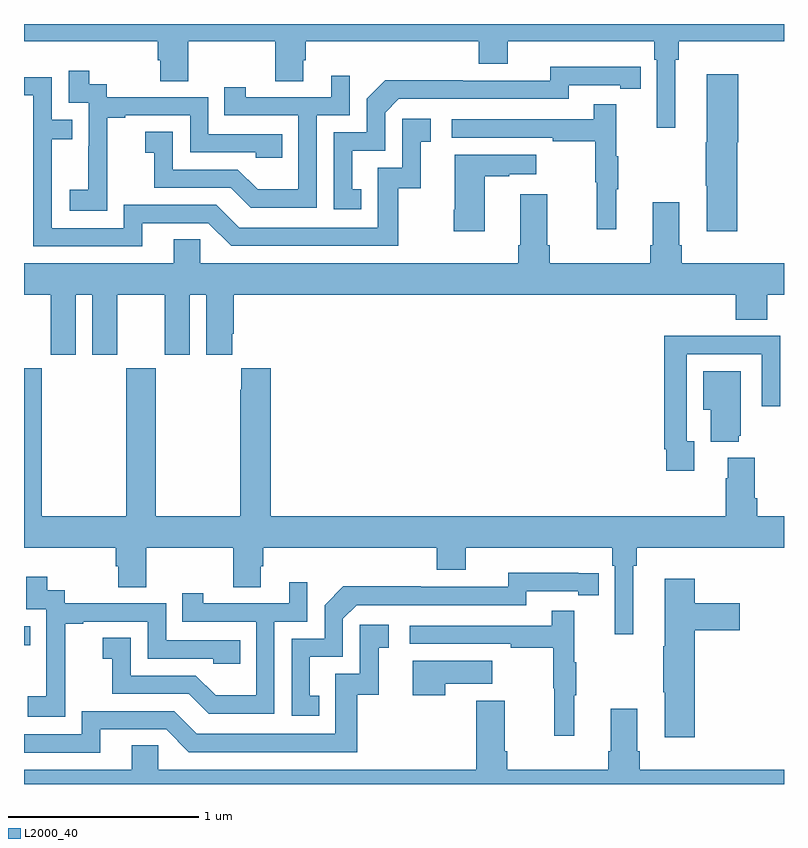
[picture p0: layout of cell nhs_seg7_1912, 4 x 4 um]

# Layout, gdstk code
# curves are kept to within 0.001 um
import gdstk
lib = gdstk.Library(unit=1e-6, precision=1e-09)
def R(c, l, rs):  # rectangles x0, y0, x1, y1
    for r in rs: c.add(gdstk.rectangle(r[:2], r[2:], *l))
def P(c, l, *ps):  # polygons
    for p in ps: c.add(gdstk.Polygon(p, *l))
L2000_40 = (2000, 40)

nhs_seg7_1912 = lib.new_cell('nhs_seg7_1912')
R(nhs_seg7_1912, L2000_40, [(239,1038.73,239.033,1038.831)])
P(nhs_seg7_1912, L2000_40, [(242.428,1041.812),(242.447,1041.812),(242.447,1041.908),(243,1041.908),(243,1042),(239,1042),(239,1041.908),(239.705,1041.908),(239.705,1041.81),(239.717,1041.81),(239.717,1041.7),(239.865,1041.7),(239.865,1041.908),(240.322,1041.908),(240.322,1041.7),(240.469,1041.7),(240.469,1041.81),(240.482,1041.81),(240.482,1041.908),(241.394,1041.908),(241.394,1041.791),(241.546,1041.791),(241.546,1041.908),(242.318,1041.908),(242.318,1041.812),(242.331,1041.812),(242.331,1041.453),(242.428,1041.453)],
  [(240.776,1041.129),(240.727,1041.129),(240.727,1041.333),(240.9,1041.333),(240.9,1041.534),(240.972,1041.606),(241.866,1041.606),(241.866,1041.678),(242.138,1041.678),(242.138,1041.658),(242.246,1041.658),(242.246,1041.774),(241.77,1041.775),(241.77,1041.702),(241.31,1041.702),(241.31,1041.704),(240.902,1041.704),(240.804,1041.606),(240.804,1041.429),(240.63,1041.429),(240.63,1041.024),(240.776,1041.024)],
  [(239.439,1041.223),(239.438,1041.223),(239.438,1041.507),(239.533,1041.507),(239.533,1041.519),(239.874,1041.519),(239.874,1041.324),(240.219,1041.324),(240.219,1041.297),(240.359,1041.297),(240.359,1041.42),(239.97,1041.42),(239.97,1041.615),(239.436,1041.615),(239.436,1041.684),(239.344,1041.684),(239.344,1041.754),(239.235,1041.754),(239.235,1041.585),(239.34,1041.585),(239.34,1041.356),(239.339,1041.356),(239.339,1041.127),(239.241,1041.127),(239.241,1041.017),(239.439,1041.017)],
  [(242.753,1041.378),(242.758,1041.378),(242.758,1041.736),(242.594,1041.736),(242.594,1041.378),(242.587,1041.378),(242.587,1041.148),(242.594,1041.148),(242.594,1040.91),(242.753,1040.91)],
  [(240.54,1041.519),(240.714,1041.519),(240.714,1041.727),(240.617,1041.727),(240.617,1041.615),(240.166,1041.615),(240.166,1041.667),(240.055,1041.667),(240.055,1041.519),(240.444,1041.519),(240.444,1041.13),(240.23,1041.13),(240.126,1041.234),(239.784,1041.234),(239.784,1041.433),(239.637,1041.433),(239.637,1041.323),(239.686,1041.323),(239.686,1041.138),(240.089,1041.138),(240.194,1041.033),(240.54,1041.033)],
  [(239.623,1040.952),(239.97,1040.952),(240.09,1040.832),(240.97,1040.832),(240.97,1041.135),(241.088,1041.135),(241.088,1041.381),(241.141,1041.381),(241.141,1041.502),(240.99,1041.502),(240.99,1041.243),(240.861,1041.243),(240.861,1040.928),(240.132,1040.928),(240.012,1041.048),(239.526,1041.048),(239.526,1040.925),(239.145,1040.925),(239.145,1041.394),(239.255,1041.394),(239.255,1041.495),(239.145,1041.495),(239.145,1041.72),(239,1041.72),(239,1041.624),(239.049,1041.624),(239.049,1040.829),(239.623,1040.829)],
  [(242.117,1041.131),(242.128,1041.131),(242.128,1041.305),(242.117,1041.305),(242.117,1041.577),(241.999,1041.577),(241.999,1041.498),(241.251,1041.498),(241.251,1041.402),(241.783,1041.402),(241.783,1041.382),(242.007,1041.382),(242.007,1041.168),(242.014,1041.168),(242.014,1040.919),(242.117,1040.919)],
  [(241.426,1041.199),(241.553,1041.199),(241.553,1041.209),(241.696,1041.209),(241.696,1041.313),(241.268,1041.313),(241.268,1041.022),(241.261,1041.022),(241.261,1040.91),(241.426,1040.91)],
  [(242.462,1040.836),(242.449,1040.836),(242.449,1041.061),(242.309,1041.061),(242.309,1040.836),(242.297,1040.836),(242.297,1040.74),(241.766,1040.74),(241.766,1040.836),(241.753,1040.836),(241.753,1041.103),(241.613,1041.103),(241.613,1040.836),(241.601,1040.836),(241.601,1040.74),(239.928,1040.74),(239.928,1040.867),(239.789,1040.867),(239.789,1040.74),(239,1040.74),(239,1040.576),(239.141,1040.576),(239.141,1040.259),(239.272,1040.259),(239.272,1040.576),(239.36,1040.576),(239.36,1040.259),(239.491,1040.259),(239.491,1040.576),(239.741,1040.576),(239.741,1040.259),(239.872,1040.259),(239.872,1040.576),(239.96,1040.576),(239.96,1040.259),(240.097,1040.259),(240.097,1040.371),(240.104,1040.371),(240.104,1040.576),(242.747,1040.576),(242.747,1040.443),(242.912,1040.443),(242.912,1040.576),(243,1040.576),(243,1040.74),(242.462,1040.74)],
  [(242.527,1039.805),(242.487,1039.805),(242.487,1040.262),(242.883,1040.262),(242.883,1039.989),(242.979,1039.989),(242.979,1040.358),(242.663,1040.358),(242.663,1040.36),(242.371,1040.36),(242.371,1039.762),(242.379,1039.762),(242.379,1039.65),(242.527,1039.65)],
  [(239.094,1040.188),(239,1040.188),(239,1039.244),(239.483,1039.244),(239.483,1039.146),(239.495,1039.146),(239.495,1039.036),(239.643,1039.036),(239.643,1039.244),(240.1,1039.244),(240.1,1039.036),(240.247,1039.036),(240.247,1039.146),(240.26,1039.146),(240.26,1039.244),(241.172,1039.244),(241.172,1039.127),(241.324,1039.127),(241.324,1039.244),(242.096,1039.244),(242.096,1039.148),(242.109,1039.148),(242.109,1038.789),(242.206,1038.789),(242.206,1039.148),(242.225,1039.148),(242.225,1039.244),(243,1039.244),(243,1039.408),(242.858,1039.408),(242.858,1039.504),(242.845,1039.504),(242.845,1039.717),(242.705,1039.717),(242.705,1039.61),(242.693,1039.61),(242.693,1039.408),(240.299,1039.408),(240.299,1040.188),(240.143,1040.188),(240.143,1040.075),(240.139,1040.075),(240.139,1039.408),(239.694,1039.408),(239.694,1040.188),(239.539,1040.188),(239.539,1039.408),(239.094,1039.408)],
  [(242.762,1039.833),(242.773,1039.833),(242.773,1040.173),(242.576,1040.173),(242.576,1039.97),(242.615,1039.97),(242.615,1039.802),(242.762,1039.802)],
  [(240.554,1038.465),(240.505,1038.465),(240.505,1038.669),(240.678,1038.669),(240.678,1038.87),(240.75,1038.942),(241.644,1038.942),(241.644,1039.014),(241.916,1039.014),(241.916,1038.994),(242.024,1038.994),(242.024,1039.11),(241.548,1039.111),(241.548,1039.038),(241.088,1039.038),(241.088,1039.04),(240.68,1039.04),(240.582,1038.942),(240.582,1038.765),(240.408,1038.765),(240.408,1038.36),(240.554,1038.36)],
  [(239.217,1038.559),(239.216,1038.559),(239.216,1038.843),(239.311,1038.843),(239.311,1038.855),(239.652,1038.855),(239.652,1038.66),(239.997,1038.66),(239.997,1038.633),(240.137,1038.633),(240.137,1038.756),(239.748,1038.756),(239.748,1038.951),(239.214,1038.951),(239.214,1039.02),(239.122,1039.02),(239.122,1039.09),(239.013,1039.09),(239.013,1038.921),(239.118,1038.921),(239.118,1038.692),(239.117,1038.692),(239.117,1038.463),(239.019,1038.463),(239.019,1038.353),(239.217,1038.353)],
  [(242.531,1038.809),(242.767,1038.809),(242.767,1038.951),(242.531,1038.951),(242.531,1039.081),(242.372,1039.081),(242.372,1038.725),(242.365,1038.725),(242.365,1038.484),(242.372,1038.484),(242.372,1038.246),(242.531,1038.246)],
  [(240.318,1038.855),(240.492,1038.855),(240.492,1039.063),(240.395,1039.063),(240.395,1038.951),(239.944,1038.951),(239.944,1039.003),(239.833,1039.003),(239.833,1038.855),(240.222,1038.855),(240.222,1038.466),(240.008,1038.466),(239.904,1038.57),(239.562,1038.57),(239.562,1038.769),(239.415,1038.769),(239.415,1038.659),(239.464,1038.659),(239.464,1038.474),(239.867,1038.474),(239.972,1038.369),(240.318,1038.369)],
  [(241.895,1038.467),(241.906,1038.467),(241.906,1038.641),(241.895,1038.641),(241.895,1038.913),(241.777,1038.913),(241.777,1038.834),(241.029,1038.834),(241.029,1038.738),(241.561,1038.738),(241.561,1038.718),(241.785,1038.718),(241.785,1038.504),(241.792,1038.504),(241.792,1038.255),(241.895,1038.255)],
  [(239.401,1038.288),(239.748,1038.288),(239.868,1038.168),(240.755,1038.168),(240.755,1038.471),(240.866,1038.471),(240.866,1038.717),(240.919,1038.717),(240.919,1038.838),(240.768,1038.838),(240.768,1038.579),(240.639,1038.579),(240.639,1038.264),(239.91,1038.264),(239.79,1038.384),(239.304,1038.384),(239.304,1038.261),(239,1038.261),(239,1038.165),(239.401,1038.165)],
  [(241.217,1038.527),(241.465,1038.527),(241.465,1038.649),(241.046,1038.649),(241.046,1038.468),(241.217,1038.468)],
  [(243,1038.076),(242.24,1038.076),(242.24,1038.172),(242.227,1038.172),(242.227,1038.397),(242.087,1038.397),(242.087,1038.172),(242.075,1038.172),(242.075,1038.076),(241.544,1038.076),(241.544,1038.172),(241.531,1038.172),(241.531,1038.439),(241.379,1038.439),(241.379,1038.076),(239.706,1038.076),(239.706,1038.203),(239.567,1038.203),(239.567,1038.076),(239,1038.076),(239,1038),(243,1038)])

lib.write_gds('nhs_seg7_1912.gds')
